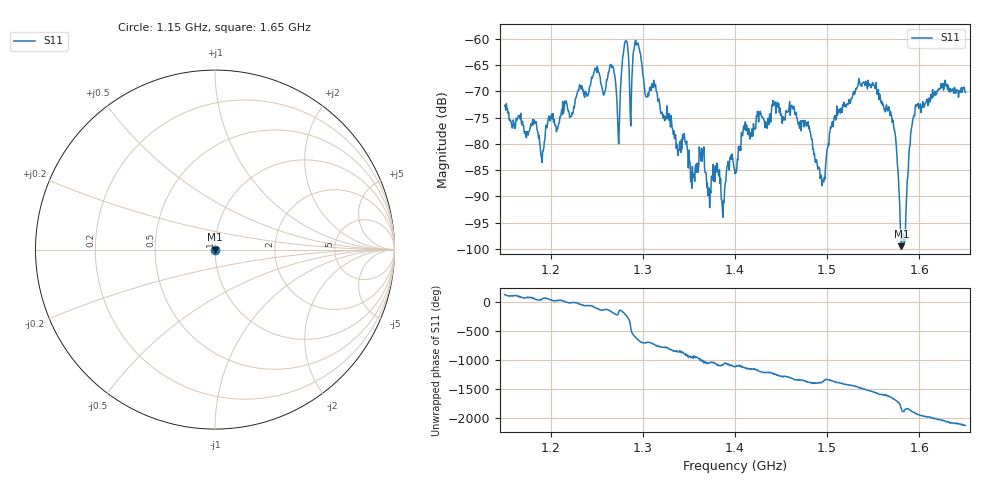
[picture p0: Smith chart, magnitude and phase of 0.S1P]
! C:\Users\rflab\Downloads\Lab5_KD_ZW\Q2\0.S1P
! Touchstone 1.1 file saved by VNA.EXE V1.65 (www.ke5fx.com/gpib/readme.htm)
! 11/12/2024 1:15:44 AM
!  Source: HEWLETT PACKARD,8753D,0,6.14
!  Min freq: 1.150000E+009 Hz
!  Max freq: 1.650000E+009 Hz
!  Points: 801
!  Params: S21
# GHZ S RI R 50
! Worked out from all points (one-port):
!   801 points, 1.15 GHz to 1.65 GHz, reference 50 ohm
!   lowest |S11| = -99.5 dB at 1.581 GHz (marker M1), VSWR 1.00, Z = 50 - j0.0007 ohm
!   |S11| at or under -10 dB: start of sweep to end of sweep
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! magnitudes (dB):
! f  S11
! 1.15 GHz  -72.7
! 1.174 GHz  -78.8
! 1.183 GHz  -75.9
! 1.191 GHz  -83.5
! 1.199 GHz  -74.9
! 1.212 GHz  -74.4
! 1.223 GHz  -74.1
! 1.249 GHz  -65.7
! 1.258 GHz  -70.7
! 1.266 GHz  -65.0
! 1.272 GHz  -74.8
! 1.275 GHz  -73.4
! 1.281 GHz  -60.7
! 1.287 GHz  -76.6
! 1.294 GHz  -60.9
! 1.304 GHz  -71.1
! 1.312 GHz  -69.1
! 1.337 GHz  -81.0
! 1.4 GHz  -85.7
! 1.442 GHz  -72.6
! 1.462 GHz  -73.2
! 1.499 GHz  -81.9
! 1.525 GHz  -72.3
! 1.551 GHz  -68.8
! 1.581 GHz  -99.5
! 1.587 GHz  -86.3
! 1.598 GHz  -72.6
! 1.65 GHz  -70.2
